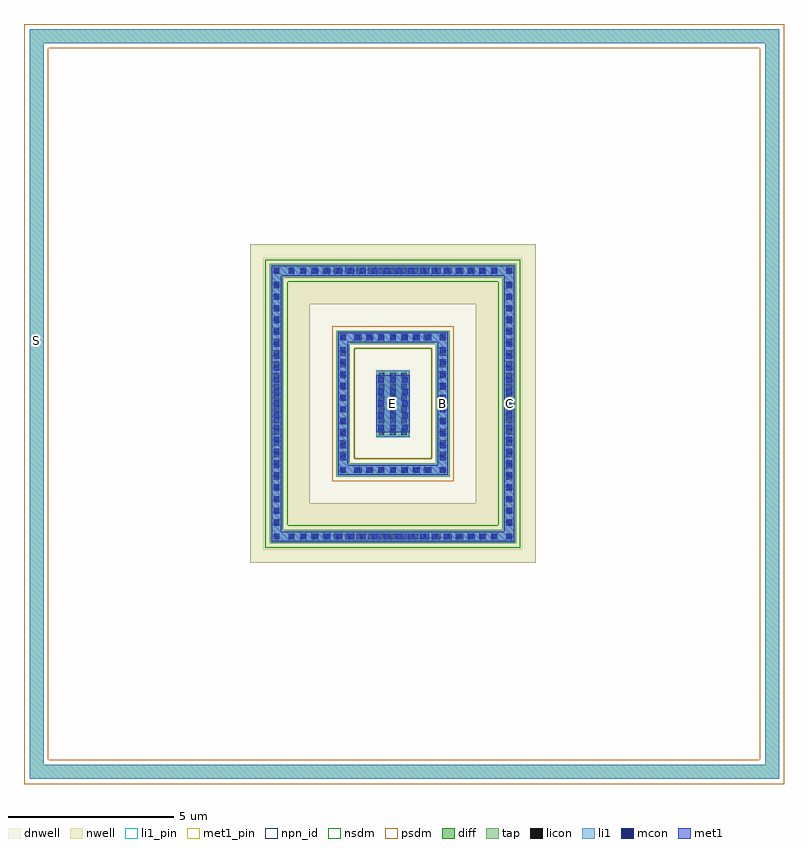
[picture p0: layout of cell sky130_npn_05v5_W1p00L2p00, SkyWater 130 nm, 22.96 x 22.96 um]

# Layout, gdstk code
import gdstk
lib = gdstk.Library(unit=1e-6, precision=1e-09)
def R(c, l, rs):  # rectangles x0, y0, x1, y1
    for r in rs: c.add(gdstk.rectangle(r[:2], r[2:], *l))
def A(c, l, x, y, w, h, nx, ny, dx, dy):  # array of equal rectangles
    R(c, l, [(x+i*dx, y+j*dy, x+i*dx+w, y+j*dy+h) for i in range(nx) for j in range(ny)])
def P(c, l, *ps):  # polygons
    for p in ps: c.add(gdstk.Polygon(p, *l))
dnwell = (64, 18)
nwell = (64, 20)
diff = (65, 20)
tap = (65, 44)
licon = (66, 44)
li1_pin = (67, 16)
li1 = (67, 20)
mcon = (67, 44)
met1_pin = (68, 16)
met1 = (68, 20)
npn_id = (82, 20)
nsdm = (93, 44)
psdm = (94, 20)

sky130_npn_05v5_w1p00l2p = lib.new_cell('sky130_npn_05v5_W1p00L2p00')
R(sky130_npn_05v5_w1p00l2p, dnwell, [(0.4,0.4,8.22,9.22)])
R(sky130_npn_05v5_w1p00l2p, nwell, [(0.865,0.41,7.755,1.18), (0.41,0.855,1.18,8.765), (7.44,0.855,8.21,8.765), (0.865,8.44,7.755,9.21)])
R(sky130_npn_05v5_w1p00l2p, diff, [(3.81,3.81,4.81,5.81), (3.825,3.815,4.795,5.805)])
P(sky130_npn_05v5_w1p00l2p, tap, [(2.6,2.6),(2.6,6.61),(3.01,6.61),(3.01,3.01),(5.61,3.01),(5.61,6.61),(2.6,6.61),(2.6,7.02),(6.02,7.02),(6.02,2.6)],
  [(0.59,0.59),(0.59,8.62),(1,8.62),(1,1),(7.62,1),(7.62,8.62),(0.59,8.62),(0.59,9.03),(8.03,9.03),(8.03,0.59)],
  [(-6.665,-6.515),(-6.665,15.705),(-6.245,15.705),(-6.245,-6.095),(15.555,-6.095),(15.555,15.705),(-6.665,15.705),(-6.665,16.125),(15.975,16.125),(15.975,-6.515)])
A(sky130_npn_05v5_w1p00l2p, licon, 1.165, 0.71, 0.17, 0.17, 19, 2, 0.34, 8.03)
A(sky130_npn_05v5_w1p00l2p, licon, 0.71, 1.155, 0.17, 0.17, 1, 22, 0, 0.34)
A(sky130_npn_05v5_w1p00l2p, licon, 7.74, 1.155, 0.17, 0.17, 1, 22, 0, 0.34)
A(sky130_npn_05v5_w1p00l2p, licon, 3.205, 2.72, 0.17, 0.17, 7, 2, 0.34, 4.01)
A(sky130_npn_05v5_w1p00l2p, licon, 2.72, 3.195, 0.17, 0.17, 1, 10, 0, 0.34)
A(sky130_npn_05v5_w1p00l2p, licon, 5.73, 3.195, 0.17, 0.17, 1, 10, 0, 0.34)
A(sky130_npn_05v5_w1p00l2p, licon, 3.885, 3.875, 0.17, 0.17, 3, 6, 0.34, 0.34)
R(sky130_npn_05v5_w1p00l2p, licon, [(0.71,0.71,0.88,0.88), (7.74,0.71,7.91,0.88), (2.72,2.72,2.89,2.89), (5.73,2.72,5.9,2.89), (-6.535,6.665,-6.365,6.835), (2.72,6.73,2.89,6.9), (5.73,6.73,5.9,6.9), (0.71,8.74,0.88,8.91), (7.74,8.74,7.91,8.91)])
R(sky130_npn_05v5_w1p00l2p, li1_pin, [(-6.552,6.643,-6.382,6.813)])
R(sky130_npn_05v5_w1p00l2p, li1, [(3.805,3.795,4.815,5.825)])
P(sky130_npn_05v5_w1p00l2p, li1, [(2.64,2.64),(2.64,6.65),(2.97,6.65),(2.97,2.97),(5.65,2.97),(5.65,6.65),(2.64,6.65),(2.64,6.98),(5.98,6.98),(5.98,2.64)],
  [(0.63,0.63),(0.63,8.66),(0.96,8.66),(0.96,0.96),(7.66,0.96),(7.66,8.66),(0.63,8.66),(0.63,8.99),(7.99,8.99),(7.99,0.63)],
  [(-6.665,-6.515),(-6.665,15.705),(-6.245,15.705),(-6.245,-6.095),(15.555,-6.095),(15.555,15.705),(-6.665,15.705),(-6.665,16.125),(15.975,16.125),(15.975,-6.515)])
A(sky130_npn_05v5_w1p00l2p, mcon, 1.165, 0.71, 0.17, 0.17, 18, 2, 0.36, 8.03)
A(sky130_npn_05v5_w1p00l2p, mcon, 0.71, 1.125, 0.17, 0.17, 1, 21, 0, 0.36)
A(sky130_npn_05v5_w1p00l2p, mcon, 7.74, 1.125, 0.17, 0.17, 1, 21, 0, 0.36)
A(sky130_npn_05v5_w1p00l2p, mcon, 3.145, 2.72, 0.17, 0.17, 7, 2, 0.36, 4.01)
A(sky130_npn_05v5_w1p00l2p, mcon, 2.72, 3.105, 0.17, 0.17, 1, 10, 0, 0.36)
A(sky130_npn_05v5_w1p00l2p, mcon, 5.73, 3.105, 0.17, 0.17, 1, 10, 0, 0.36)
A(sky130_npn_05v5_w1p00l2p, mcon, 3.865, 4.005, 0.17, 0.17, 3, 5, 0.36, 0.36)
R(sky130_npn_05v5_w1p00l2p, mcon, [(0.71,0.71,0.88,0.88), (7.74,0.71,7.91,0.88), (2.72,2.72,2.89,2.89), (5.73,2.72,5.9,2.89), (2.72,6.73,2.89,6.9), (5.73,6.73,5.9,6.9), (0.71,8.74,0.88,8.91), (7.74,8.74,7.91,8.91)])
R(sky130_npn_05v5_w1p00l2p, met1_pin, [(4.225,4.725,4.395,4.895), (5.73,4.725,5.9,4.895), (7.74,4.725,7.91,4.895)])
R(sky130_npn_05v5_w1p00l2p, met1, [(1.105,0.65,7.515,0.94), (0.65,1.065,0.94,8.555), (7.68,1.065,7.97,8.555), (3.085,2.66,5.535,2.95), (2.66,3.045,2.95,6.575), (5.67,3.045,5.96,6.575), (3.805,3.945,4.815,5.675), (3.085,6.67,5.535,6.96), (1.105,8.68,7.515,8.97)])
P(sky130_npn_05v5_w1p00l2p, met1, [(0.65,8.555),(0.65,8.97),(1.105,8.97),(1.105,8.68),(0.94,8.68),(0.94,8.555)],
  [(0.65,0.65),(0.65,1.065),(0.94,1.065),(0.94,0.94),(1.105,0.94),(1.105,0.65)],
  [(7.515,0.65),(7.515,0.94),(7.68,0.94),(7.68,1.065),(7.97,1.065),(7.97,0.65)],
  [(7.68,8.555),(7.68,8.68),(7.515,8.68),(7.515,8.97),(7.97,8.97),(7.97,8.555)],
  [(5.67,6.575),(5.67,6.67),(5.535,6.67),(5.535,6.96),(5.96,6.96),(5.96,6.575)],
  [(2.66,2.66),(2.66,3.045),(2.95,3.045),(2.95,2.95),(3.085,2.95),(3.085,2.66)],
  [(2.66,6.575),(2.66,6.96),(3.085,6.96),(3.085,6.67),(2.95,6.67),(2.95,6.575)],
  [(5.535,2.66),(5.535,2.95),(5.67,2.95),(5.67,3.045),(5.96,3.045),(5.96,2.66)])
R(sky130_npn_05v5_w1p00l2p, npn_id, [(0.59,0.59,8.03,9.03)])
R(sky130_npn_05v5_w1p00l2p, nsdm, [(0.46,0.46,0.915,0.905), (0.915,0.46,7.705,1.13), (7.705,0.46,8.16,0.905), (0.46,0.905,1.13,8.715), (7.49,0.905,8.16,8.715), (3.14,3.14,5.48,6.48), (3.695,3.685,4.925,5.935), (3.705,3.685,4.915,5.935), (0.915,8.49,7.705,9.16), (0.46,8.715,0.915,9.16), (7.705,8.715,8.16,9.16)])
P(sky130_npn_05v5_w1p00l2p, psdm, [(2.47,2.47),(2.47,6.48),(3.14,6.48),(3.14,3.14),(5.48,3.14),(5.48,6.48),(2.47,6.48),(2.47,7.15),(6.15,7.15),(6.15,2.47)],
  [(-6.835,-6.68),(-6.835,15.54),(-6.095,15.54),(-6.095,-5.94),(15.385,-5.94),(15.385,15.54),(-6.835,15.54),(-6.835,16.28),(16.125,16.28),(16.125,-6.68)])
sky130_npn_05v5_w1p00l2p.add(gdstk.FlexPath([(0.9,1.8),(0.9,8.72),(7.72,8.72),(7.72,0.9),(0,0.9)], 1.8, ends="flush", simple_path=True, layer=64, datatype=20))  # nwell
sky130_npn_05v5_w1p00l2p.add(gdstk.Label('S', (-6.467,6.728), layer=67, texttype=5))
sky130_npn_05v5_w1p00l2p.add(gdstk.Label('E', (4.31,4.81), layer=68, texttype=5))
sky130_npn_05v5_w1p00l2p.add(gdstk.Label('B', (5.815,4.81), layer=68, texttype=5))
sky130_npn_05v5_w1p00l2p.add(gdstk.Label('C', (7.825,4.81), layer=68, texttype=5))

lib.write_gds('sky130_npn_05v5_W1p00L2p00.gds')
